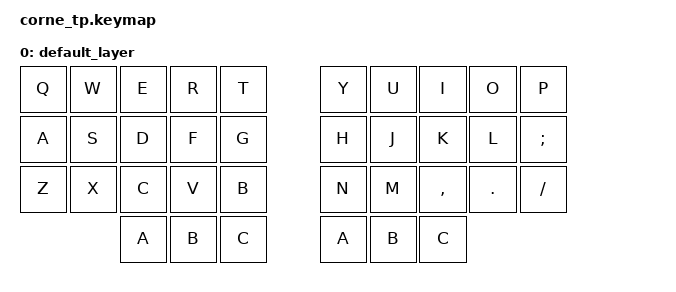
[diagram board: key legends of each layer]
#include <behaviors.dtsi>
#include <dt-bindings/zmk/keys.h>
#include <dt-bindings/zmk/bt.h>

#define BASE 0
#define LOWER 1
#define MOUSE_KEYS 2
#define MOUSE_TP 3
#define MOUSE_TP_SET 4

#define HAS_MOUSE_KEYS
#define HAS_MOUSE_TP
#include "include/mouse_tp.dtsi"
#include <dt-bindings/zmk/mouse.h>
#include <behaviors/mouse_keys.dtsi>

/ {
        keymap {
                compatible = "zmk,keymap";

                default_layer {
                        bindings = <
   &kp Q &kp W &kp E &kp R &kp T   &kp Y &kp U  &kp I     &kp O   &kp P   
   &kp A &kp S &kp D &kp F &kp G   &kp H &kp J  &kp K     &kp L   &kp SEMI
   &kp Z &kp X &kp C &kp V &kp B   &kp N &kp M  &kp COMMA &kp DOT &kp FSLH
               &kp A &kp B &kp C   &kp A &kp B &kp C
                        >;
                };
        };
};
